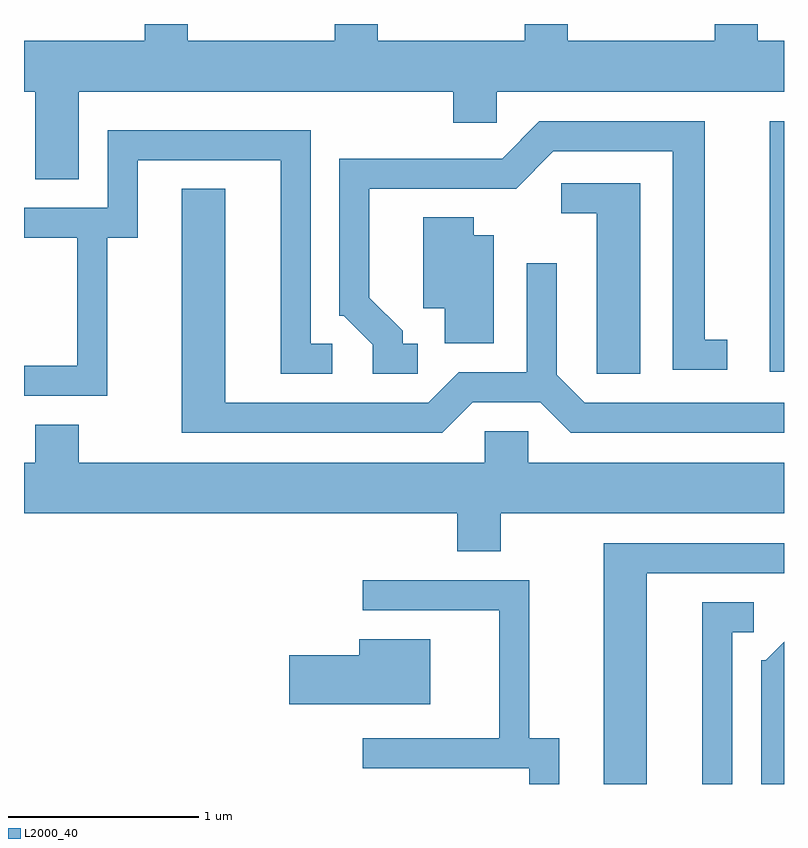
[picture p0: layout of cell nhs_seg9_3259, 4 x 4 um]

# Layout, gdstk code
import gdstk
lib = gdstk.Library(unit=1e-6, precision=1e-09)
def R(c, l, rs):  # rectangles x0, y0, x1, y1
    for r in rs: c.add(gdstk.rectangle(r[:2], r[2:], *l))
def P(c, l, *ps):  # polygons
    for p in ps: c.add(gdstk.Polygon(p, *l))
L2000_40 = (2000, 40)

nhs_seg9_3259 = lib.new_cell('nhs_seg9_3259')
R(nhs_seg9_3259, L2000_40, [(285.536,1952.601,285.611,1953.919)])
P(nhs_seg9_3259, L2000_40, [(285.611,1954.344),(285.474,1954.344),(285.474,1954.432),(285.246,1954.432),(285.246,1954.344),(284.474,1954.344),(284.474,1954.432),(284.246,1954.432),(284.246,1954.344),(283.474,1954.344),(283.474,1954.432),(283.246,1954.432),(283.246,1954.344),(282.474,1954.344),(282.474,1954.432),(282.246,1954.432),(282.246,1954.344),(281.611,1954.344),(281.611,1954.076),(281.671,1954.076),(281.671,1953.616),(281.899,1953.616),(281.899,1954.076),(283.871,1954.076),(283.871,1953.911),(284.099,1953.911),(284.099,1954.076),(285.611,1954.076)],
  [(283.683,1952.749),(283.604,1952.749),(283.604,1952.817),(283.429,1952.992),(283.429,1953.566),(284.202,1953.566),(284.397,1953.761),(285.026,1953.761),(285.026,1952.611),(285.313,1952.611),(285.313,1952.769),(285.194,1952.769),(285.194,1953.919),(284.324,1953.919),(284.129,1953.724),(283.271,1953.724),(283.271,1952.896),(283.294,1952.896),(283.446,1952.744),(283.446,1952.591),(283.683,1952.591)],
  [(282.049,1953.306),(282.209,1953.306),(282.209,1953.716),(282.961,1953.716),(282.961,1952.591),(283.233,1952.591),(283.233,1952.749),(283.119,1952.749),(283.119,1953.874),(282.051,1953.874),(282.051,1953.464),(281.611,1953.464),(281.611,1953.306),(281.891,1953.306),(281.891,1952.634),(281.611,1952.634),(281.611,1952.476),(282.049,1952.476)],
  [(284.854,1953.594),(284.438,1953.594),(284.438,1953.436),(284.626,1953.436),(284.626,1952.591),(284.854,1952.591)],
  [(283.972,1952.441),(284.329,1952.441),(284.489,1952.281),(285.611,1952.281),(285.611,1952.439),(284.562,1952.439),(284.414,1952.587),(284.414,1953.173),(284.256,1953.173),(284.256,1952.599),(283.899,1952.599),(283.739,1952.439),(282.669,1952.439),(282.669,1953.564),(282.441,1953.564),(282.441,1952.281),(283.812,1952.281)],
  [(284.084,1953.319),(283.979,1953.319),(283.979,1953.414),(283.711,1953.414),(283.711,1952.936),(283.826,1952.936),(283.826,1952.751),(284.084,1952.751)],
  [(284.119,1951.856),(285.611,1951.856),(285.611,1952.124),(284.264,1952.124),(284.264,1952.289),(284.036,1952.289),(284.036,1952.124),(281.899,1952.124),(281.899,1952.324),(281.671,1952.324),(281.671,1952.124),(281.611,1952.124),(281.611,1951.856),(283.891,1951.856),(283.891,1951.656),(284.119,1951.656)],
  [(284.889,1951.541),(285.611,1951.541),(285.611,1951.699),(284.661,1951.699),(284.661,1950.432),(284.889,1950.432)],
  [(284.429,1950.674),(284.269,1950.674),(284.269,1951.504),(283.393,1951.504),(283.393,1951.346),(284.111,1951.346),(284.111,1950.674),(283.393,1950.674),(283.393,1950.516),(284.271,1950.516),(284.271,1950.432),(284.429,1950.432)],
  [(285.339,1951.231),(285.453,1951.231),(285.453,1951.389),(285.181,1951.389),(285.181,1950.432),(285.339,1950.432)],
  [(283.749,1951.194),(283.376,1951.194),(283.376,1951.109),(283.006,1951.109),(283.006,1950.851),(283.749,1950.851)],
  [(285.611,1951.182),(285.514,1951.084),(285.491,1951.084),(285.491,1950.432),(285.611,1950.432)])

lib.write_gds('nhs_seg9_3259.gds')
